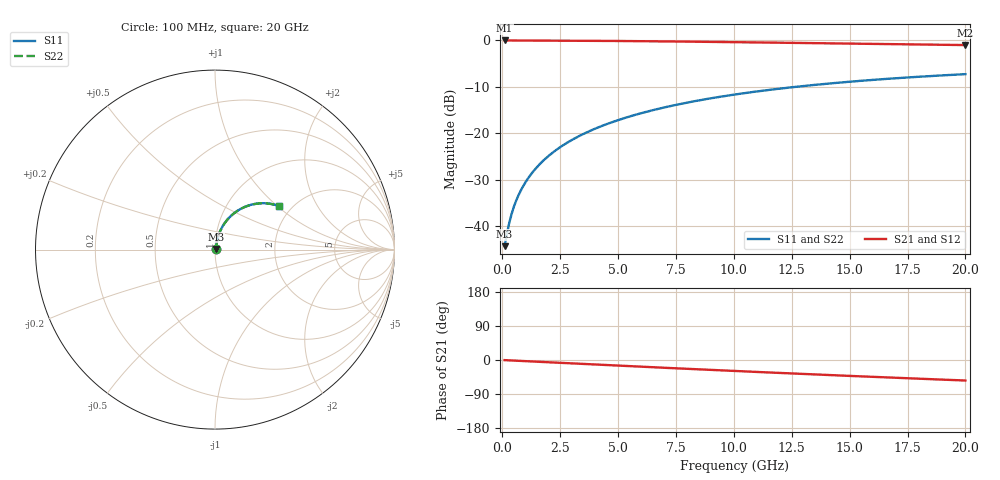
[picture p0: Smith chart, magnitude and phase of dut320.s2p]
! Touchstone file exported from HFSS 2026.1.0
!  File:  C:/ffzhzh/LocalFiles/Ansys_Project_Files/temp_train_BSMRDL_320_1783010815_4048.aedt
!  Generated:  12:48:33 AM Jul  3, 2026
!  Design:  BSMRDL
!  Project:  temp_train_BSMRDL_320_1783010815_4048
! Variables:
!  h_bsmrdl = 2.77um
!  h_ox = 20um
!  h_rdl = 5um
!  h_sub = 80um
!  h_tmrdl = 5um
!  h_tsv = 80um
!  h_via = 3um
!  l_bsmrdl = 847.24um
!  l_sub = 1247.24um
!  l_tmrdl = 200um
!  m_sub = 200um
!  pitch = 42.93um
!  r_tsv = 6um
!  s_tmrdl = 10um
!  w_bsmrdl = 21.47um
!  w_sub = 500um
!  w_tmrdl = 12um
!  x_tsv_center1 = 206um
!  x_tsv_center2 = 1074.71um
!  x_tsv_center3 = 1286.71um
!  x_tsv_center4 = 2155.42um
!  x_tsv_center5 = 2367.42um
!  x_tsv_center6 = 3236.13um
# GHz S MA R 50.000000
! Terminal data exported
! Port[1] = BSM_RDL1_1_T1
! Port[2] = BSM_RDL1_1_T2
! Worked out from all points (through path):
!   200 points, 100 MHz to 20 GHz, reference 50 ohm
!   highest |S21| = -0.05 dB at 100 MHz (marker M1); lowest = -1.0 dB at 20 GHz (marker M2)
!   group delay of S21, straight-line fit = 7.53 ps
!   lowest |S11| = -44.2 dB at 100 MHz (marker M3), VSWR 1.01, Z = 50.5 + j0.32 ohm
!   |S11| at or under -10 dB: start of sweep to 12.69 GHz
!   |S22| runs from -44.2 to -7.3 dB; largest |S21 - S12| = 4.2e-15
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0.1  0.006139 31.1  0.9948 -0.3  0.9948 -0.3  0.006139 31.1
! Gamma 0 0 0 0
! Port Impedance 50 0 50 0
0.2  0.008329 48.7  0.9945 -0.6  0.9945 -0.6  0.008329 48.7
0.3  0.01091 57.7  0.9943 -0.9  0.9943 -0.9  0.01091 57.7
0.4  0.01358 62.9  0.994 -1.2  0.994 -1.2  0.01358 62.9
0.5  0.01627 66.4  0.9938 -1.5  0.9938 -1.5  0.01627 66.4
0.6  0.01895 68.8  0.9935 -1.8  0.9935 -1.8  0.01896 68.8
0.8  0.02434 72.0  0.9932 -2.4  0.9932 -2.4  0.02434 72.0
1.1  0.03249 74.6  0.9927 -3.3  0.9927 -3.3  0.03249 74.6
1.3  0.03796 75.6  0.9924 -3.9  0.9924 -3.9  0.03796 75.6
1.6  0.04621 76.5  0.9919 -4.8  0.9919 -4.8  0.04621 76.5
2.1  0.06 76.8  0.991 -6.3  0.991 -6.3  0.06 76.8
2.7  0.07654 76.4  0.9897 -8.0  0.9897 -8.0  0.07654 76.4
3.5  0.09843 75.1  0.9874 -10.4  0.9874 -10.4  0.09843 75.1
4.2  0.1173 73.6  0.985 -12.5  0.985 -12.5  0.1173 73.6
5  0.1386 71.7  0.9819 -14.8  0.9819 -14.8  0.1386 71.7
5.9  0.162 69.5  0.9778 -17.4  0.9778 -17.4  0.162 69.4
6.8  0.1849 67.1  0.9733 -19.9  0.9733 -19.9  0.1849 67.1
8.3  0.2214 63.2  0.9648 -24.2  0.9648 -24.2  0.2214 63.1
10.1  0.2625 58.4  0.9536 -29.1  0.9536 -29.1  0.2625 58.4
13.4  0.3297 50.0  0.9312 -37.9  0.9312 -37.9  0.3297 49.9
16.7  0.3862 41.9  0.9086 -46.2  0.9086 -46.2  0.3862 41.8
20  0.4322 34.1  0.8875 -54.1  0.8875 -54.1  0.4322 34.0
